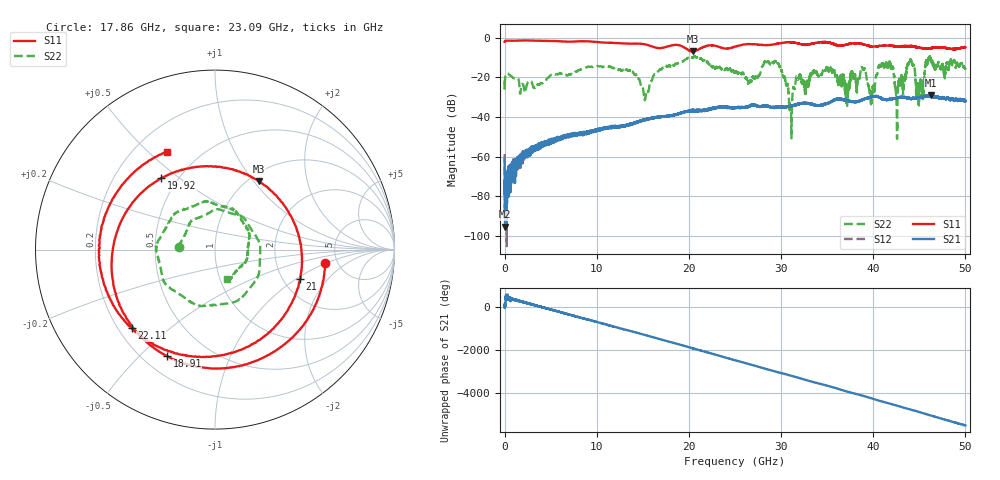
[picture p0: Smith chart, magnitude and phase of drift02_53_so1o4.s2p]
!Created with skrf (http://scikit-rf.org).
# Hz S RI R 50.0
!freq ReS11 ImS11 ReS21 ImS21 ReS12 ImS12 ReS22 ImS22
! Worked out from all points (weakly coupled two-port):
!   10001 points, 300 kHz to 50 GHz, reference 50 ohm
!   highest |S21| = -29.06 dB at 46.28 GHz (marker M1); lowest = -95.5 dB at 55.3 MHz (marker M2)
!   lowest |S11| = -6.9 dB at 20.42 GHz (marker M3), VSWR 2.64, Z = 55.6 + j53 ohm
!   |S11| at or under -10 dB: nowhere
!   |S22| runs from -51.1 to -9.2 dB; largest |S21 - S12| = 0.0031
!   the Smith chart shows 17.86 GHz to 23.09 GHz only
!   S11 on the Smith chart (normalised r, x): 17.86 GHz: 3.98, -1.00; 18.91 GHz: 0.29, -0.61; 19.92 GHz: 0.41, +0.43; 21 GHz: 2.48, -1.07; 22.11 GHz: 0.25, -0.37; 23.09 GHz: 0.33, +0.57
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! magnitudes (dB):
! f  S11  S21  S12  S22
! 300 kHz  -2.1  -61.2  -58.8  -21.6
! 55.3 MHz  -1.6  -95.5  -77.9  -20.3
! 8.335 GHz  -1.7  -48.8  -48.2  -15.7
! 15.33 GHz  -3.4  -41.2  -41.3  -29.0
! 16.67 GHz  -5.2  -40.2  -40.0  -17.0
! 17.86 GHz  -4.2  -39.4  -39.5  -13.9
! 18.91 GHz  -3.7  -38.4  -38.3  -12.5
! 19.92 GHz  -6.1  -37.1  -37.1  -10.2
! 20.42 GHz  -6.9  -36.7  -36.5  -10.0
! 21 GHz  -6.0  -37.0  -36.8  -9.8
! 22.11 GHz  -3.9  -36.1  -36.2  -13.0
! 23.09 GHz  -4.3  -35.4  -35.2  -15.0
! 25 GHz  -4.5  -35.4  -35.3  -17.7
! 29.51 GHz  -3.1  -34.9  -35.3  -12.6
! 31.03 GHz  -2.3  -34.3  -34.8  -34.6
! 33.34 GHz  -3.1  -33.5  -33.6  -18.2
! 38.92 GHz  -3.2  -31.1  -31.0  -16.2
! 39.86 GHz  -4.4  -29.8  -29.9  -29.0
! 41.67 GHz  -3.9  -31.2  -31.2  -12.7
! 42.58 GHz  -4.3  -30.4  -30.3  -41.5
! 46.28 GHz  -5.3  -29.1  -29.4  -11.1
! 50 GHz  -4.8  -31.7  -31.9  -15.8
